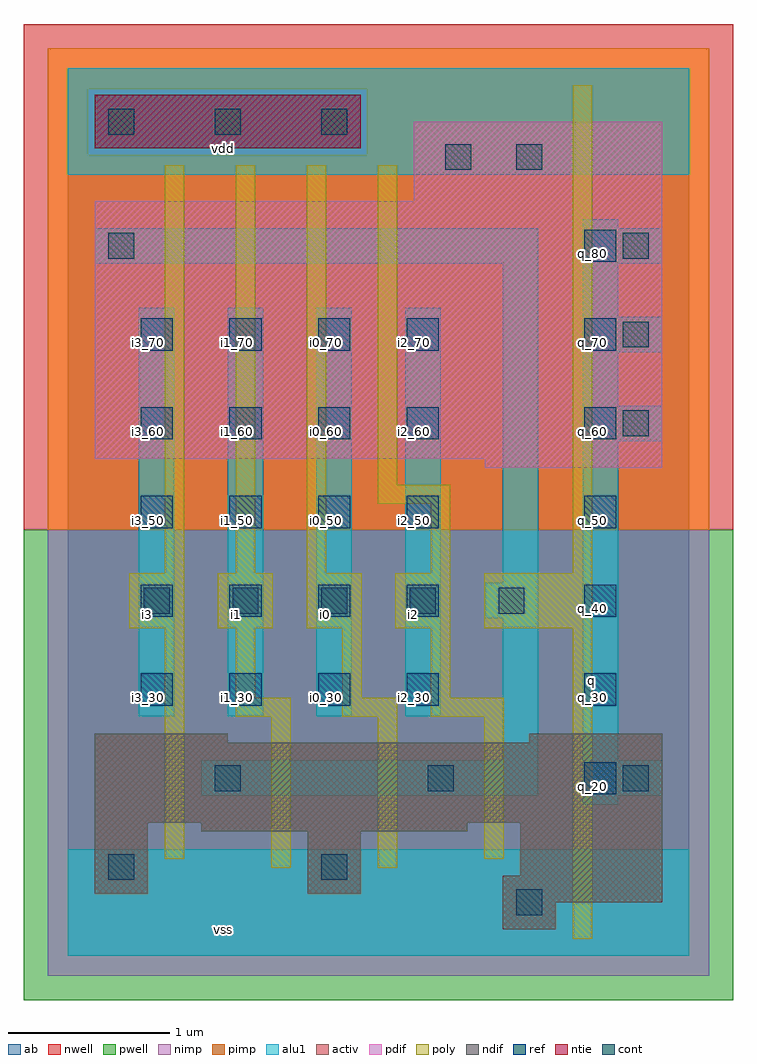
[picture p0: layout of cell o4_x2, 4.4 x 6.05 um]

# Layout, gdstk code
import gdstk
lib = gdstk.Library(unit=1e-6, precision=2.5e-09)
def R(c, l, rs):  # rectangles x0, y0, x1, y1
    for r in rs: c.add(gdstk.rectangle(r[:2], r[2:], *l))
def A(c, l, x, y, w, h, nx, ny, dx, dy):  # array of equal rectangles
    R(c, l, [(x+i*dx, y+j*dy, x+i*dx+w, y+j*dy+h) for i in range(nx) for j in range(ny)])
ndif = (3, 0)
pdif = (4, 0)
ntie = (5, 0)
ref = (24, 0)
cont = (25, 0)
pwell = (41, 0)
nwell = (42, 0)
activ = (43, 0)
pimp = (44, 0)
nimp = (45, 0)
poly = (46, 0)
alu1 = (49, 0)
ab = (63, 0)

o4_x2 = lib.new_cell('o4_x2')
R(o4_x2, ndif, [(2.695,0.165,3.025,0.33), (2.695,0.33,3.685,0.495), (0.165,0.385,0.495,0.825), (1.485,0.385,1.815,0.77), (2.805,0.495,3.685,0.825), (0.825,0.77,2.475,0.825), (0.165,0.825,3.685,1.32), (0.165,1.32,0.99,1.375), (2.86,1.32,3.685,1.375)])
R(o4_x2, pdif, [(2.585,3.025,3.685,3.08), (0.165,3.08,3.685,4.675), (2.145,4.675,3.685,5.17)])
R(o4_x2, ntie, [(0.165,5.005,1.815,5.335)])
A(o4_x2, ref, 3.2, 1, 0.2, 0.2, 1, 7, 0, 0.55)
A(o4_x2, ref, 0.45, 1.55, 0.2, 0.2, 4, 5, 0.55, 0.55)
A(o4_x2, cont, 0.47, 2.12, 0.16, 0.16, 5, 1, 0.55, 0)
A(o4_x2, cont, 3.44, 3.22, 0.16, 0.16, 1, 3, 0, 0.55)
A(o4_x2, cont, 0.25, 5.09, 0.16, 0.16, 3, 1, 0.66, 0)
R(o4_x2, cont, [(2.78,0.25,2.94,0.41), (0.25,0.47,0.41,0.63), (1.57,0.47,1.73,0.63), (0.91,1.02,1.07,1.18), (2.23,1.02,2.39,1.18), (3.44,1.02,3.6,1.18), (0.25,4.32,0.41,4.48), (2.34,4.87,2.5,5.03), (2.78,4.87,2.94,5.03)])
R(o4_x2, pwell, [(-0.275,-0.275,4.125,2.64)])
R(o4_x2, nwell, [(-0.275,2.64,4.125,5.775)])
R(o4_x2, activ, [(2.695,0.165,3.025,0.33), (2.695,0.33,3.685,0.495), (0.165,0.385,0.495,0.825), (1.485,0.385,1.815,0.77), (2.805,0.495,3.685,0.825), (0.825,0.77,2.475,0.825), (0.165,0.825,3.685,1.32), (0.165,1.32,0.99,1.375), (2.86,1.32,3.685,1.375), (2.585,3.025,3.685,3.08), (0.165,3.08,3.685,4.675), (2.145,4.675,3.685,5.17), (0.165,5.005,1.815,5.335)])
R(o4_x2, pimp, [(-0.125,2.64,3.975,4.965), (-0.125,4.965,0.125,5.375), (1.855,4.965,3.975,5.375), (-0.125,5.375,3.975,5.625)])
R(o4_x2, nimp, [(-0.125,-0.125,3.975,2.64), (0.125,4.965,1.855,5.375)])
A(o4_x2, poly, 0.38, 2.03, 0.34, 0.34, 4, 1, 0.55, 0)
A(o4_x2, poly, 0.6, 2.37, 0.12, 2.53, 3, 1, 0.44, 0)
R(o4_x2, poly, [(3.13,0.105,3.25,2.03), (1.26,0.545,1.38,1.48), (1.92,0.545,2.04,1.48), (0.6,0.6,0.72,2.03), (2.58,0.6,2.7,1.48), (1.04,1.48,1.38,1.6), (1.7,1.48,2.04,1.6), (2.25,1.48,2.7,1.6), (1.04,1.6,1.16,2.03), (1.7,1.6,1.82,2.03), (2.25,1.6,2.37,2.03), (2.58,2.03,3.25,2.37), (2.25,2.37,2.37,2.8), (3.13,2.37,3.25,5.395), (1.92,2.8,2.37,2.92), (1.92,2.92,2.04,4.9)])
A(o4_x2, alu1, 0.44, 1.485, 0.22, 2.53, 4, 1, 0.55, 0)
A(o4_x2, alu1, 3.19, 3.19, 0.495, 0.22, 1, 3, 0, 0.55)
R(o4_x2, alu1, [(0,0,3.85,0.66), (3.19,0.935,3.41,0.99), (0.825,0.99,2.915,1.21), (3.19,0.99,3.685,1.21), (2.695,1.21,2.915,2.09), (3.19,1.21,3.41,3.19), (2.585,2.09,2.915,2.31), (2.695,2.31,2.915,4.29), (3.19,3.41,3.41,3.74), (3.19,3.96,3.41,4.29), (0.165,4.29,2.915,4.51), (3.19,4.51,3.41,4.565), (0,4.84,3.85,5.5)])
R(o4_x2, ab, [(0,0,3.85,5.5)])
o4_x2.add(gdstk.Label('vss', (0.9625,0.165), layer=49, texttype=0))
o4_x2.add(gdstk.Label('q', (3.245,1.705), layer=49, texttype=0))
o4_x2.add(gdstk.Label('i2', (2.145,2.1175), layer=49, texttype=0))
o4_x2.add(gdstk.Label('i0', (1.595,2.1175), layer=49, texttype=0))
o4_x2.add(gdstk.Label('i1', (1.045,2.1175), layer=49, texttype=0))
o4_x2.add(gdstk.Label('i3', (0.495,2.1175), layer=49, texttype=0))
o4_x2.add(gdstk.Label('vdd', (0.9625,5.005), layer=49, texttype=0))
o4_x2.add(gdstk.Label('i1_70', (1.05,3.8), layer=24, texttype=0))
o4_x2.add(gdstk.Label('i1_60', (1.05,3.25), layer=24, texttype=0))
o4_x2.add(gdstk.Label('i1_50', (1.05,2.7), layer=24, texttype=0))
o4_x2.add(gdstk.Label('i1_40', (1.05,2.15), layer=24, texttype=0))
o4_x2.add(gdstk.Label('i1_30', (1.05,1.6), layer=24, texttype=0))
o4_x2.add(gdstk.Label('i0_30', (1.6,1.6), layer=24, texttype=0))
o4_x2.add(gdstk.Label('i0_40', (1.6,2.15), layer=24, texttype=0))
o4_x2.add(gdstk.Label('i0_50', (1.6,2.7), layer=24, texttype=0))
o4_x2.add(gdstk.Label('i0_60', (1.6,3.25), layer=24, texttype=0))
o4_x2.add(gdstk.Label('i0_70', (1.6,3.8), layer=24, texttype=0))
o4_x2.add(gdstk.Label('i2_30', (2.15,1.6), layer=24, texttype=0))
o4_x2.add(gdstk.Label('i2_40', (2.15,2.15), layer=24, texttype=0))
o4_x2.add(gdstk.Label('i2_50', (2.15,2.7), layer=24, texttype=0))
o4_x2.add(gdstk.Label('i2_60', (2.15,3.25), layer=24, texttype=0))
o4_x2.add(gdstk.Label('i2_70', (2.15,3.8), layer=24, texttype=0))
o4_x2.add(gdstk.Label('q_60', (3.25,3.25), layer=24, texttype=0))
o4_x2.add(gdstk.Label('q_50', (3.25,2.7), layer=24, texttype=0))
o4_x2.add(gdstk.Label('q_40', (3.25,2.15), layer=24, texttype=0))
o4_x2.add(gdstk.Label('q_20', (3.25,1.05), layer=24, texttype=0))
o4_x2.add(gdstk.Label('q_30', (3.25,1.6), layer=24, texttype=0))
o4_x2.add(gdstk.Label('q_80', (3.25,4.35), layer=24, texttype=0))
o4_x2.add(gdstk.Label('q_70', (3.25,3.8), layer=24, texttype=0))
o4_x2.add(gdstk.Label('i3_40', (0.5,2.15), layer=24, texttype=0))
o4_x2.add(gdstk.Label('i3_50', (0.5,2.7), layer=24, texttype=0))
o4_x2.add(gdstk.Label('i3_60', (0.5,3.25), layer=24, texttype=0))
o4_x2.add(gdstk.Label('i3_70', (0.5,3.8), layer=24, texttype=0))
o4_x2.add(gdstk.Label('i3_30', (0.5,1.6), layer=24, texttype=0))

lib.write_gds('o4_x2.gds')
